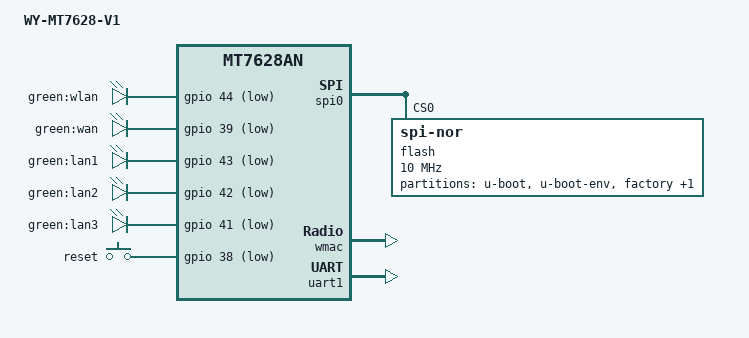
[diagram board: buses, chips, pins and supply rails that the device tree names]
#include "mt7628an.dtsi"

#include <dt-bindings/gpio/gpio.h>
#include <dt-bindings/input/input.h>

/{
	compatible = "wylink,wy-mt7628-v1", "mediatek,mt7628an-soc";
	model = "WY-MT7628-V1";

	aliases {
		led-boot = &led_power;
		led-failsafe = &led_power;
		led-upgrade = &led_power;
		label-mac-device = &ethernet;
	};

	chosen {
		bootargs = "console=ttyS0,115200";
	};

	leds {
		compatible = "gpio-leds";

		wlan {
			label = "green:wlan";
			gpios = <&gpio 44 GPIO_ACTIVE_LOW>;
		};

		led_power: wan {
			label = "green:wan";
			gpios = <&gpio 39 GPIO_ACTIVE_LOW>;
		};

		lan1 {
			label = "green:lan1";
			gpios = <&gpio 43 GPIO_ACTIVE_LOW>;
		};

		lan2 {
			label = "green:lan2";
			gpios = <&gpio 42 GPIO_ACTIVE_LOW>;
		};

		lan3 {
			label = "green:lan3";
			gpios = <&gpio 41 GPIO_ACTIVE_LOW>;
		};
	};

	keys {
		compatible = "gpio-keys";

		reset {
			label = "reset";
			gpios = <&gpio 38 GPIO_ACTIVE_LOW>;
			linux,code = <KEY_RESTART>;
		};
	};
};

&state_default {
	gpio {
		groups = "wdt", "gpio", "wled_an", "i2c", "p0led_an", "p1led_an", "p2led_an", "p3led_an", "p4led_an";
		function = "gpio";
	};
};

&spi0 {
	status = "okay";

	flash@0 {
		compatible = "jedec,spi-nor";
		reg = <0>;
		spi-max-frequency = <10000000>;

		partitions {
			compatible = "fixed-partitions";
			#address-cells = <1>;
			#size-cells = <1>;

			partition@0 {
				label = "u-boot";
				reg = <0x0 0x30000>;
				read-only;
			};

			partition@30000 {
				label = "u-boot-env";
				reg = <0x30000 0x10000>;
				read-only;
			};

			factory: partition@40000 {
				label = "factory";
				reg = <0x40000 0x10000>;
				read-only;
			};

			partition@50000 {
				compatible = "denx,uimage";
				label = "firmware";
				reg = <0x50000 0x7b0000>;
			};
		};
	};
};

&ethernet {
	mtd-mac-address = <&factory 0x28>;
};

&wmac {
	status = "okay";
	mediatek,mtd-eeprom = <&factory 0x0>;
	mtd-mac-address = <&factory 0x28>;
};

&uart1 {
	status = "okay";
};
